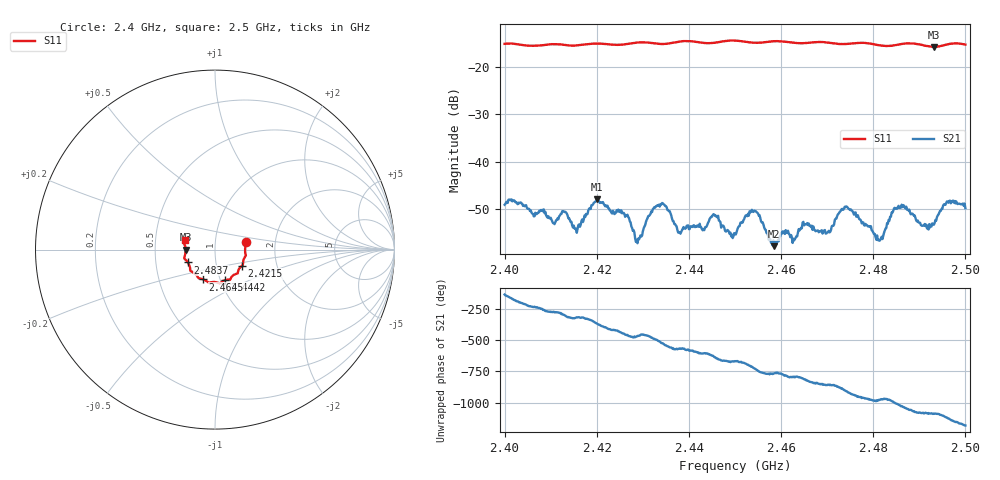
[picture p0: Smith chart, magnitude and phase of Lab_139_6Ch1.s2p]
# Hz S RI R 50
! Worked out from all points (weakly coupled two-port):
!   601 points, 2.4 GHz to 2.5 GHz, reference 50 ohm
!   highest |S21| = -47.85 dB at 2.42 GHz (marker M1); lowest = -57.8 dB at 2.4585 GHz (marker M2)
!   lowest |S11| = -15.7 dB at 2.4932 GHz (marker M3), VSWR 1.39, Z = 36 - j0.0591 ohm
!   |S11| at or under -10 dB: start of sweep to end of sweep
!   S12 and S22 are empty: the file has one direction only
!   S11 on the Smith chart (normalised r, x): 2.4 GHz: 1.41, +0.12; 2.4215 GHz: 1.33, -0.25; 2.4442 GHz: 1.05, -0.37; 2.4645 GHz: 0.83, -0.29; 2.4837 GHz: 0.73, -0.11; 2.5 GHz: 0.71, +0.07
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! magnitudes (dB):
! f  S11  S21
! 2.4 GHz  -15.1  -49.0
! 2.4167 GHz  -15.3  -52.5
! 2.42 GHz  -15.0  -47.9
! 2.4215 GHz  -15.1  -48.8
! 2.4288 GHz  -14.8  -57.1
! 2.4333 GHz  -15.1  -49.3
! 2.438 GHz  -14.6  -54.9
! 2.4442 GHz  -15.0  -52.8
! 2.45 GHz  -14.4  -55.1
! 2.4542 GHz  -14.9  -50.3
! 2.4585 GHz  -14.5  -57.8
! 2.4645 GHz  -15.0  -54.0
! 2.4667 GHz  -14.8  -53.5
! 2.4702 GHz  -14.8  -54.8
! 2.4743 GHz  -15.1  -49.5
! 2.4815 GHz  -15.4  -56.5
! 2.4833 GHz  -15.6  -52.2
! 2.4837 GHz  -15.5  -51.6
! 2.4867 GHz  -15.1  -49.2
! 2.4932 GHz  -15.7  -53.2
! 2.4962 GHz  -15.2  -48.4
! 2.5 GHz  -15.3  -49.8
